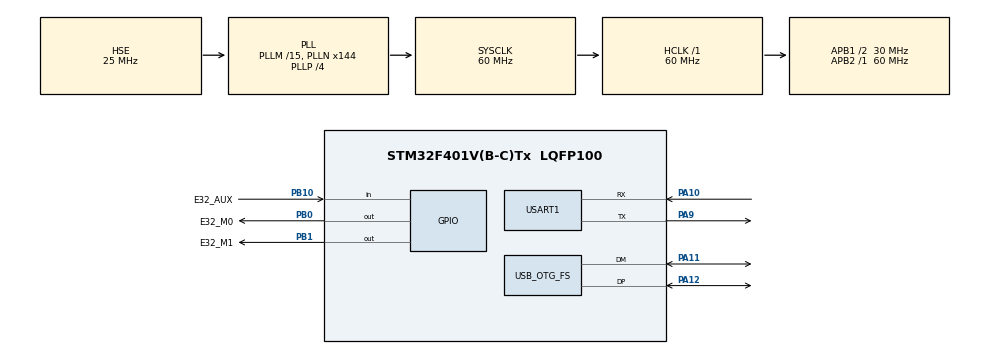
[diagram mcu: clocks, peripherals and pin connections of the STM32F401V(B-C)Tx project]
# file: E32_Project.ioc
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Mcu.Family=STM32F4
Mcu.Name=STM32F401V(B-C)Tx
Mcu.Package=LQFP100
NVIC.OTG_FS_IRQn=true\:0\:0\:false\:false\:true\:false\:true\:true
NVIC.PriorityGroup=NVIC_PRIORITYGROUP_0
PA10.Mode=Asynchronous
PA10.Signal=USART1_RX
PA11.Mode=Device_Only
PA11.Signal=USB_OTG_FS_DM
PA12.Mode=Device_Only
PA12.Signal=USB_OTG_FS_DP
PA2.Signal=USART2_TX
PA3.Signal=USART2_RX
PA9.Mode=Asynchronous
PA9.Signal=USART1_TX
PB0.GPIO_Label=E32_M0
PB0.Signal=GPIO_Output
PB1.GPIO_Label=E32_M1
PB1.Signal=GPIO_Output
PB10.GPIO_Label=E32_AUX
PB10.Signal=GPIO_Input
PH0\ -\ OSC_IN.Mode=HSE-External-Oscillator
PH0\ -\ OSC_IN.Signal=RCC_OSC_IN
PH1\ -\ OSC_OUT.Mode=HSE-External-Oscillator
PH1\ -\ OSC_OUT.Signal=RCC_OSC_OUT
ProjectManager.HeapSize=0x200
ProjectManager.StackSize=0x400
ProjectManager.TargetToolchain=STM32CubeIDE
RCC.48MHZClocksFreq_Value=48000000
RCC.AHBFreq_Value=60000000
RCC.APB1CLKDivider=RCC_HCLK_DIV2
RCC.APB1Freq_Value=30000000
RCC.APB1TimFreq_Value=60000000
RCC.APB2Freq_Value=60000000
RCC.APB2TimFreq_Value=60000000
RCC.CortexFreq_Value=60000000
RCC.HCLKFreq_Value=60000000
RCC.HSE_VALUE=25000000
RCC.HSI_VALUE=16000000
RCC.LSE_VALUE=32768
RCC.PLLM=15
RCC.PLLN=144
RCC.PLLP=RCC_PLLP_DIV4
RCC.PLLQ=5
RCC.SYSCLKFreq_VALUE=60000000
RCC.SYSCLKSource=RCC_SYSCLKSOURCE_PLLCLK
RCC.VCOOutputFreq_Value=240000000
USART1.VirtualMode=VM_ASYNC
USB_DEVICE.CLASS_NAME_FS=CDC
USB_DEVICE.VirtualMode=Cdc
USB_DEVICE.VirtualModeFS=Cdc_FS
USB_OTG_FS.VirtualMode=Device_Only
VP_USB_DEVICE_VS_USB_DEVICE_CDC_FS.Mode=CDC_FS
board=STM32F401C-DISCO

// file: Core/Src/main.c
/* USER CODE BEGIN Header */
/**
  ******************************************************************************
  * @file           : main.c
  * @brief          : E32-900T30S with DMA Ring Buffer UART Reception
  ******************************************************************************
  */
/* USER CODE END Header */

#include "usb_device.h"
#include "main.h"
#include <string.h>
#include <stdio.h>

UART_HandleTypeDef huart1;
DMA_HandleTypeDef hdma_usart1_rx;

/* USER CODE BEGIN PV */
#define RxBuf_SIZE   512
#define MainBuf_SIZE 2048

uint8_t RxBuf[RxBuf_SIZE];
uint8_t MainBuf[MainBuf_SIZE];
//ISR(인터럽트)와 main loop가 같은 변수를 동시에 읽고/쓰기 때문에, 컴파일러 최적화로 값이 “안 바뀌는 것처럼” 보이는 버그를 막기 위해
/* DMA-only ring buffer pointers */
static volatile uint16_t writePos = 0;  // ISR에서 증가
static volatile uint16_t readPos  = 0;  // main loop에서 증가

/* Optional status flags */
static volatile int ok_print_pending = 0;
/* USER CODE END PV */

void SystemClock_Config(void);
static void MX_GPIO_Init(void);
static void MX_DMA_Init(void);
static void MX_USART1_UART_Init(void);

/* USER CODE BEGIN PFP */
static void E32_SetModeNormal(void);
static void E32_SetModeConfig(void);
static uint8_t E32_WaitAUX_High(uint32_t timeout_ms);
static HAL_StatusTypeDef E32_SendFrame(const uint8_t *data, uint16_t len, uint32_t to);
/* NOTE: E32_ReadBytes() (blocking receive) is intentionally NOT used in DMA-only RX design */

static inline uint16_t rb_next(uint16_t p);
static uint16_t RB_Available(void);
static int RB_GetByte(uint8_t *out);
static int RB_ReadExact(uint8_t *dst, uint16_t len, uint32_t timeout_ms);
int RB_ReadLine(char *out, uint16_t maxlen, uint32_t timeout_ms);
int RB_FindSequence(const uint8_t *seq, uint16_t seqlen, uint32_t timeout_ms);

static int E32_ReadParams_DMA(uint8_t resp6[6], uint32_t timeout_ms);

void myprint(const char *text);
/* USER CODE END PFP */

/* USER CODE BEGIN 0 */
static void E32_SetModeNormal(void) {
  HAL_GPIO_WritePin(E32_M0_GPIO_Port, E32_M0_Pin, GPIO_PIN_RESET);
  HAL_GPIO_WritePin(E32_M1_GPIO_Port, E32_M1_Pin, GPIO_PIN_RESET);
}

static void E32_SetModeConfig(void) {
  HAL_GPIO_WritePin(E32_M0_GPIO_Port, E32_M0_Pin, GPIO_PIN_SET);
  HAL_GPIO_WritePin(E32_M1_GPIO_Port, E32_M1_Pin, GPIO_PIN_SET);
}

static uint8_t E32_WaitAUX_High(uint32_t timeout_ms) {
  uint32_t start = HAL_GetTick();
  while ((HAL_GetTick() - start) < timeout_ms) {
    if (HAL_GPIO_ReadPin(E32_AUX_GPIO_Port, E32_AUX_Pin) == GPIO_PIN_SET) return 1;
    HAL_Delay(1);
  }
  return 0;
}

static HAL_StatusTypeDef E32_SendFrame(const uint8_t *data, uint16_t len, uint32_t to) {
  return HAL_UART_Transmit(&huart1, (uint8_t*)data, len, to);
}
//Sends debug message to USB serial port
void myprint(const char *text) {
  /* NOTE: do NOT call this from UART RX callback (ISR context) */
  CDC_Transmit_FS((uint8_t*)text, strlen(text));
}

/* ================= DMA-only Ring Buffer Utils ================= */

static inline uint16_t rb_next(uint16_t p) { return (uint16_t)((p + 1u) % MainBuf_SIZE); }

static uint16_t RB_Available(void)
{
  uint16_t w = writePos, r = readPos;
  return (w >= r) ? (uint16_t)(w - r) : (uint16_t)(MainBuf_SIZE - r + w);
}

static int RB_GetByte(uint8_t *out)
{
  if (readPos == writePos) return 0;
  *out = MainBuf[readPos];
  readPos = rb_next(readPos);
  return 1;
}

static int RB_ReadExact(uint8_t *dst, uint16_t len, uint32_t timeout_ms)
{
  uint32_t t0 = HAL_GetTick();
  uint16_t got = 0;

  while (got < len)
  {
    uint8_t b;
    if (RB_GetByte(&b))
    {
      dst[got++] = b;
      continue;
    }
    if ((HAL_GetTick() - t0) >= timeout_ms) return 0;
    HAL_Delay(1);//small delay to avoid busy waiting and reduce CPU usage while waiting for data
  }
  return 1;
}

/* Read until '\n' (included) or timeout. Returns 1 if got any char. */
int RB_ReadLine(char *out, uint16_t maxlen, uint32_t timeout_ms)
{
  if (!out || maxlen < 2) return 0; //최소한 문자 1개 + '\0'

  uint32_t t0 = HAL_GetTick();
  uint16_t idx = 0;

  while ((HAL_GetTick() - t0) < timeout_ms) //prevent infinite loop
  {
    uint8_t b;
    if (RB_GetByte(&b))
    {
      if (idx < (uint16_t)(maxlen - 1)) out[idx++] = (char)b;
      if (b == '\n') break;
      continue;
    }
    HAL_Delay(1);
  }

  out[idx] = 0;
  return (idx > 0);
}

/* Find a byte sequence within timeout, consuming bytes as it searches. */
int RB_FindSequence(const uint8_t *seq, uint16_t seqlen, uint32_t timeout_ms)
{
  if (!seq || seqlen == 0) return 0;

  uint32_t t0 = HAL_GetTick();
  uint16_t matched = 0;

  while ((HAL_GetTick() - t0) < timeout_ms)
  {
    uint8_t b;
    if (!RB_GetByte(&b)) {
      HAL_Delay(1);
      continue;
    }

    if (b == seq[matched])
    {
      matched++;
      if (matched == seqlen) return 1;
    }
    else
    {
      /* simple fallback: restart match; handle overlap minimally */
      matched = (b == seq[0]) ? 1 : 0;
    }
  }
  return 0;
}

/* DMA-based read params: send C1 C1 C1 and read 6 bytes from ring buffer */
static int E32_ReadParams_DMA(uint8_t resp6[6], uint32_t timeout_ms)
{
  const uint8_t cmd_read_params[] = {0xC1, 0xC1, 0xC1};

  /* flush pending RX (optional) */
  readPos = writePos;

  if (E32_SendFrame(cmd_read_params, sizeof(cmd_read_params), 1000) != HAL_OK) //sizeof(cmd_read_params) = 3
    return 0;

  return RB_ReadExact(resp6, 6, timeout_ms);
}

/* DMA Ring Buffer Callback: push only, NO printing, NO heavy parsing */
void HAL_UARTEx_RxEventCallback(UART_HandleTypeDef *huart, uint16_t Size)
{
  if (huart->Instance != USART1) return;

  /* push RxBuf[0..Size-1] into MainBuf ring */
  for (uint16_t i = 0; i < Size; i++)
  {
    MainBuf[writePos] = RxBuf[i];
    writePos = rb_next(writePos);

    /* overflow policy: drop oldest */
    if (writePos == readPos)
    {
      readPos = rb_next(readPos);
    }
  }

  /* restart DMA last */
  HAL_UARTEx_ReceiveToIdle_DMA(&huart1, RxBuf, RxBuf_SIZE);
  __HAL_DMA_DISABLE_IT(&hdma_usart1_rx, DMA_IT_HT);
}
/* USER CODE END 0 */

int main(void)
{
  HAL_Init();
  SystemClock_Config();
  MX_GPIO_Init();
  MX_DMA_Init();
  MX_USART1_UART_Init();
  MX_USB_DEVICE_Init();

  /* USER CODE BEGIN 2 */
  myprint("STM32 boot OK (E32 + DMA Ring Buffer)\r\n");

  /* Start DMA reception ASAP (DMA-only RX policy) */
  HAL_UARTEx_ReceiveToIdle_DMA(&huart1, RxBuf, RxBuf_SIZE);
  __HAL_DMA_DISABLE_IT(&hdma_usart1_rx, DMA_IT_HT);

  // Enter CONFIG mode
  myprint("Entering CONFIG mode...\r\n");
  E32_SetModeConfig();
  HAL_Delay(60);
  E32_WaitAUX_High(1000);

  // Read parameters via DMA ring buffer
  uint8_t resp[6] = {0};
  myprint("Sending: C1 C1 C1\r\n");

  if (E32_ReadParams_DMA(resp, 1000))
  {
    char line[96];
    snprintf(line, sizeof(line), "Params reply: %02X %02X %02X %02X %02X %02X\r\n",
             resp[0], resp[1], resp[2], resp[3], resp[4], resp[5]);
    myprint(line);
  }
  else
  {
    myprint("Params read timeout/no reply\r\n");
  }

  // Back to NORMAL mode
  E32_SetModeNormal();
  myprint("Back to NORMAL mode.\r\n");

  /* Example: watch for OK token in background (optional) */
  /* USER CODE END 2 */

  while (1) {
    /* USER CODE BEGIN 3 */
//UART로 들어오는 데이터 스트림(MainBuf 링버퍼) 안에서 "OK"라는 토큰이 보이면, 그때만 로그를 출력하는 “가벼운(background) 파싱
    /* Example background parse: find "OK" in stream (non-blocking-ish with short timeout) */
    static const uint8_t ok_seq[] = {'O','K'};
    if (RB_FindSequence(ok_seq, sizeof(ok_seq), 5)) { //5ms
      ok_print_pending = 1;
    }

    if (ok_print_pending) {
      ok_print_pending = 0;
      myprint("Received OK!\r\n");
    }

    HAL_Delay(10);
    /* USER CODE END 3 */
  }
}

/* System Clock Configuration */
void SystemClock_Config(void)
{
  RCC_OscInitTypeDef RCC_OscInitStruct = {0};
  RCC_ClkInitTypeDef RCC_ClkInitStruct = {0};

  __HAL_RCC_PWR_CLK_ENABLE();
  __HAL_PWR_VOLTAGESCALING_CONFIG(PWR_REGULATOR_VOLTAGE_SCALE2);

  RCC_OscInitStruct.OscillatorType = RCC_OSCILLATORTYPE_HSE;
  RCC_OscInitStruct.HSEState = RCC_HSE_ON;
  RCC_OscInitStruct.PLL.PLLState = RCC_PLL_ON;
  RCC_OscInitStruct.PLL.PLLSource = RCC_PLLSOURCE_HSE;
  RCC_OscInitStruct.PLL.PLLM = 15;
  RCC_OscInitStruct.PLL.PLLN = 144;
  RCC_OscInitStruct.PLL.PLLP = RCC_PLLP_DIV4;
  RCC_OscInitStruct.PLL.PLLQ = 5;
  if (HAL_RCC_OscConfig(&RCC_OscInitStruct) != HAL_OK) { Error_Handler(); }

  RCC_ClkInitStruct.ClockType = RCC_CLOCKTYPE_HCLK|RCC_CLOCKTYPE_SYSCLK
                              |RCC_CLOCKTYPE_PCLK1|RCC_CLOCKTYPE_PCLK2;
  RCC_ClkInitStruct.SYSCLKSource = RCC_SYSCLKSOURCE_PLLCLK;
  RCC_ClkInitStruct.AHBCLKDivider = RCC_SYSCLK_DIV1;
  RCC_ClkInitStruct.APB1CLKDivider = RCC_HCLK_DIV2;
  RCC_ClkInitStruct.APB2CLKDivider = RCC_HCLK_DIV1;
  if (HAL_RCC_ClockConfig(&RCC_ClkInitStruct, FLASH_LATENCY_1) != HAL_OK) { Error_Handler(); }
}

/* DMA Init Function */
static void MX_DMA_Init(void)
{
  /* DMA controller clock enable */
  __HAL_RCC_DMA2_CLK_ENABLE();

  /* DMA interrupt init */
  /* DMA2_Stream2_IRQn interrupt configuration (USART1_RX) */
  HAL_NVIC_SetPriority(DMA2_Stream2_IRQn, 0, 0);
  HAL_NVIC_EnableIRQ(DMA2_Stream2_IRQn);
}

/* USART1 init function */
static void MX_USART1_UART_Init(void)
{
  huart1.Instance = USART1;
  huart1.Init.BaudRate = 9600; // default for E32
  huart1.Init.WordLength = UART_WORDLENGTH_8B;
  huart1.Init.StopBits = UART_STOPBITS_1;
  huart1.Init.Parity = UART_PARITY_NONE;
  huart1.Init.Mode = UART_MODE_TX_RX;
  huart1.Init.HwFlowCtl = UART_HWCONTROL_NONE;
  huart1.Init.OverSampling = UART_OVERSAMPLING_16;
  if (HAL_UART_Init(&huart1) != HAL_OK) { Error_Handler(); }
}

/* GPIO init function */
static void MX_GPIO_Init(void)
{
  GPIO_InitTypeDef GPIO_InitStruct = {0};

  __HAL_RCC_GPIOH_CLK_ENABLE();
  __HAL_RCC_GPIOA_CLK_ENABLE();
  __HAL_RCC_GPIOB_CLK_ENABLE();

  /* USART1 PA9 (TX), PA10 (RX) */
  GPIO_InitStruct.Pin = GPIO_PIN_9 | GPIO_PIN_10;
  GPIO_InitStruct.Mode = GPIO_MODE_AF_PP;
  GPIO_InitStruct.Pull = GPIO_NOPULL;
  GPIO_InitStruct.Speed = GPIO_SPEED_FREQ_VERY_HIGH;
  GPIO_InitStruct.Alternate = GPIO_AF7_USART1;
  HAL_GPIO_Init(GPIOA, &GPIO_InitStruct);

  /* M0, M1 outputs */
  HAL_GPIO_WritePin(GPIOB, E32_M0_Pin|E32_M1_Pin, GPIO_PIN_RESET);
  GPIO_InitStruct.Pin = E32_M0_Pin|E32_M1_Pin;
  GPIO_InitStruct.Mode = GPIO_MODE_OUTPUT_PP;
  GPIO_InitStruct.Pull = GPIO_NOPULL;
  GPIO_InitStruct.Speed = GPIO_SPEED_FREQ_LOW;
  HAL_GPIO_Init(GPIOB, &GPIO_InitStruct);

  /* AUX input with pull-up */
  GPIO_InitStruct.Pin = E32_AUX_Pin;
  GPIO_InitStruct.Mode = GPIO_MODE_INPUT;
  GPIO_InitStruct.Pull = GPIO_PULLUP;
  HAL_GPIO_Init(E32_AUX_GPIO_Port, &GPIO_InitStruct);
}

void Error_Handler(void)
{
  __disable_irq();
  while (1) { }
}
